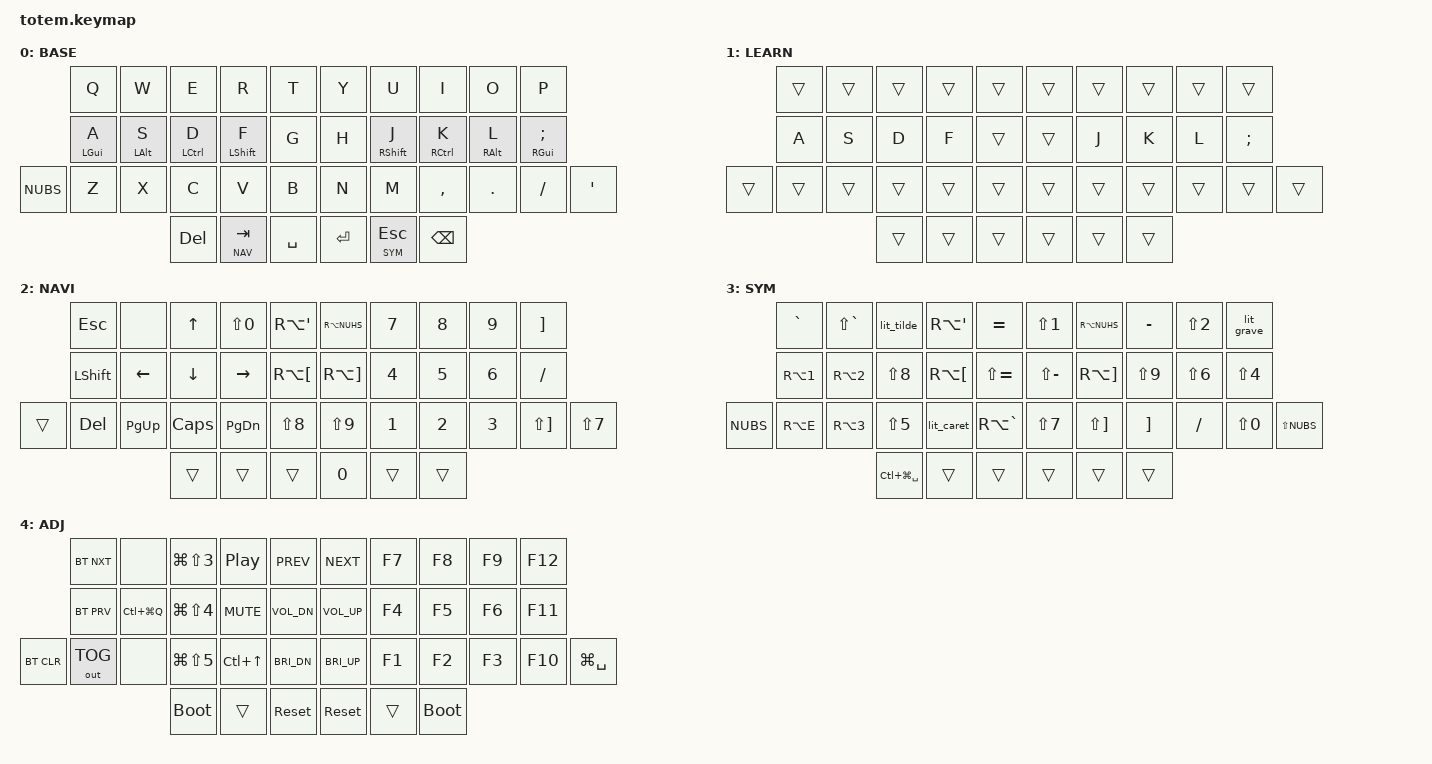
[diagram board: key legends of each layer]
//
//                                                        ▀▀▀▀▀     ▀▀▀▀▀          ▀▀█▀▀
//                                                        ▄▀▀▀▄  ▄  ▄▀▀▀▄  ▄  ▄▀▀▀▄  █  ▄▀▀▀▄
//                                                        █   █  █  █   █  █  █   █  █  █   █
//                                                         ▀▀▀   █   ▀▀▀   █   ▀▀▀   ▀   ▀▀▀
//                                                               █      ▄▄▄█▄▄▄    █   █
//                                                               ▀      █  █  █     █▄█
//                                                             ▀▀▀▀▀    █  █  █      ▀
//                                                                      ▀  ▀  ▀
//
// QWERTY adapted to macOS with the "Spanish – ISO" input source.
// Symbols are sent as the key combination that produces that character in the
// macOS Spanish layout (e.g. "@" = Option+2, "/" = Shift+7).
//
// IMPORTANT: those combinations use RA() (RIGHT Option), not LA(), on purpose.
// kitty has "macos_option_as_alt left" (~/.config/kitty/kitty.conf), which takes
// the left Option and turns it into Meta for the terminal: there LA(N2) would be
// sent as ESC 2 and would not compose "@". The right Option does reach macOS and
// composes normally. Don't swap RA() for LA() without adjusting kitty first.
// The LEFT Alt is kept as a real Meta modifier in &mt LALT S.
// ▄▄▄▄▄▄▄▄▄▄▄▄▄▄▄▄▄▄▄▄▄▄▄▄▄▄▄▄▄▄▄▄▄▄▄▄▄▄▄▄▄▄▄▄▄▄▄▄▄▄▄▄▄▄▄▄▄▄▄▄▄▄▄▄▄▄▄▄▄▄▄▄▄▄▄▄▄▄▄▄▄▄▄▄▄▄▄▄▄▄▄▄▄▄▄▄▄▄▄▄▄▄▄▄▄▄▄▄▄▄▄▄▄▄▄▄▄▄▄▄▄▄▄▄▄▄▄▄▄▄▄▄▄▄▄▄▄▄▄▄▄▄▄▄▄▄▄▄▄


#include <behaviors.dtsi>
#include <dt-bindings/zmk/keys.h>
#include <dt-bindings/zmk/bt.h>
#include <dt-bindings/zmk/outputs.h>

#define BASE  0
#define LEARN 1
#define NAV   2
#define SYM   3
#define ADJ   4

&mt {
  quick-tap-ms = <100>;
  global-quick-tap;
  flavor = "tap-preferred";
  tapping-term-ms = <170>;
};

/ {
     combos {
            compatible = "zmk,combos";
            combo_esc {
                timeout-ms = <50>;
                key-positions = <0 1>;
                bindings = <&kp ESC>;
            };
            combo_learn {
                timeout-ms = <100>;
                key-positions = <11 12 13>;
                bindings = <&tog LEARN>;
            };
            // ç = the key next to ´ on the Spanish ISO layout (NUHS); with ⇧ it gives Ç.
            // Only in BASE/LEARN so it doesn't clash with Caps/PgDn (NAV) or % ^ (SYM).
            combo_cedilla {
                timeout-ms = <50>;
                key-positions = <23 24>;
                bindings = <&kp NUHS>;
                layers = <BASE LEARN>;
            };
    };

    // Tri-layer: holding NAV (TAB) and SYM (ESC) together activates ADJ.
    // That way no layer spends a key on &mo ADJ.
    conditional_layers {
        compatible = "zmk,conditional-layers";
        tri_layer {
            if-layers = <NAV SYM>;
            then-layer = <ADJ>;
        };
    };

    macros {
        // In the macOS Spanish layout ` ^ ~ are dead keys: they wait for a vowel.
        // For programming they're wanted as literals, so each macro taps the dead
        // key and then space, which makes macOS emit the character on its own.
        lit_grave: lit_grave {
            compatible = "zmk,behavior-macro";
            #binding-cells = <0>;
            bindings = <&macro_tap &kp LBKT &kp SPACE>;          // `
        };
        lit_caret: lit_caret {
            compatible = "zmk,behavior-macro";
            #binding-cells = <0>;
            bindings = <&macro_tap &kp LS(LBKT) &kp SPACE>;      // ^
        };
        lit_tilde: lit_tilde {
            compatible = "zmk,behavior-macro";
            #binding-cells = <0>;
            bindings = <&macro_tap &kp RA(SEMI) &kp SPACE>;      // ~ (Option+ñ)
        };
    };

        keymap {
                compatible = "zmk,keymap";
// ▄▄▄▄▄▄▄▄▄▄▄▄▄▄▄▄▄▄▄▄▄▄▄▄▄▄▄▄▄▄▄▄▄▄▄▄▄▄▄▄▄▄▄▄▄▄▄▄▄▄▄▄▄▄▄▄▄▄▄▄▄▄▄▄▄▄▄▄▄▄▄▄▄▄▄▄▄▄▄▄▄▄▄▄▄▄▄▄▄▄▄▄▄▄▄▄▄▄▄▄▄▄▄▄▄▄▄▄▄▄▄▄▄▄▄▄▄▄▄▄▄▄▄▄▄▄▄▄▄▄▄▄▄▄▄▄▄▄▄▄▄▄▄▄▄▄▄▄▄

                base_layer {
// ┏━━━━━━━━━━━━━━━━━━━━━━━━━━━━━━━━━━━━━━━┓
label= "BASE"                              ;
// ┗━━━━━━━━━━━━━━━━━━━━━━━━━━━━━━━━━━━━━━━┛
//             ┏━━━━━━━━━━━┳━━━━━━━━━━━┳━━━━━━━━━━━┳━━━━━━━━━━━┳━━━━━━━━━━━┓   ┏━━━━━━━━━━━┳━━━━━━━━━━━┳━━━━━━━━━━━┳━━━━━━━━━━━┳━━━━━━━━━━━┓
//             ┃     Q     ┃     W     ┃     E     ┃     R     ┃     T     ┃   ┃     Y     ┃     U     ┃     I     ┃     O     ┃     P     ┃
//             ┣━━━━━━━━━━━╋━━━━━━━━━━━╋━━━━━━━━━━━╋━━━━━━━━━━━╋━━━━━━━━━━━┫   ┣━━━━━━━━━━━╋━━━━━━━━━━━╋━━━━━━━━━━━╋━━━━━━━━━━━╋━━━━━━━━━━━┫
//             ┃   A/Cmd   ┃   S/Alt   ┃   D/Ctrl  ┃   F/Shft  ┃     G     ┃   ┃     H     ┃   J/Shft  ┃   K/Ctrl  ┃   L/Alt   ┃   Ñ/Cmd   ┃
// ┏━━━━━━━━━━━╋━━━━━━━━━━━╋━━━━━━━━━━━╋━━━━━━━━━━━╋━━━━━━━━━━━╋━━━━━━━━━━━┫   ┣━━━━━━━━━━━╋━━━━━━━━━━━╋━━━━━━━━━━━╋━━━━━━━━━━━╋━━━━━━━━━━━╋━━━━━━━━━━━┓
// ┃    < >    ┃     Z     ┃     X     ┃     C     ┃     V     ┃     B     ┃   ┃     N     ┃     M     ┃    , ;    ┃    . :    ┃    - _    ┃    ´ ¨    ┃
// ┗━━━━━━━━━━━┻━━━━━━━━━━━┻━━━━━━━━━━━╋━━━━━━━━━━━╋━━━━━━━━━━━╋━━━━━━━━━━━┫   ┣━━━━━━━━━━━╋━━━━━━━━━━━╋━━━━━━━━━━━╋━━━━━━━━━━━┻━━━━━━━━━━━┻━━━━━━━━━━━┛
//                                     ┃    DEL    ┃    TAB    ┃    SPC    ┃   ┃   ENTER   ┃    ESC    ┃   BSPC    ┃
//                                     ┗━━━━━━━━━━━┻━━━━━━━━━━━┻━━━━━━━━━━━┛   ┗━━━━━━━━━━━┻━━━━━━━━━━━┻━━━━━━━━━━━┛
 bindings = <
// ╷           ╷           ╷           ╷           ╷           ╷           ╷   ╷           ╷           ╷           ╷           ╷           ╷           ╷

                &kp Q       &kp W       &kp E       &kp R       &kp T           &kp Y       &kp U       &kp I       &kp O       &kp P
                &mt LGUI A  &mt LALT S  &mt LCTRL D &mt LSHFT F &kp G           &kp H       &mt RSHFT J &mt RCTRL K &mt RALT L  &mt RGUI SEMI
    &kp NUBS    &kp Z       &kp X       &kp C       &kp V       &kp B           &kp N       &kp M       &kp COMMA   &kp DOT     &kp FSLH    &kp SQT
                                        &kp DEL   &lt NAV TAB   &kp SPACE       &kp RET   &lt SYM ESC   &kp BSPC
                        >;
                };

// ▄▄▄▄▄▄▄▄▄▄▄▄▄▄▄▄▄▄▄▄▄▄▄▄▄▄▄▄▄▄▄▄▄▄▄▄▄▄▄▄▄▄▄▄▄▄▄▄▄▄▄▄▄▄▄▄▄▄▄▄▄▄▄▄▄▄▄▄▄▄▄▄▄▄▄▄▄▄▄▄▄▄▄▄▄▄▄▄▄▄▄▄▄▄▄▄▄▄▄▄▄▄▄▄▄▄▄▄▄▄▄▄▄▄▄▄▄▄▄▄▄▄▄▄▄▄▄▄▄▄▄▄▄▄▄▄▄▄▄▄▄▄▄▄▄▄▄▄▄


                learn_layer {
// ┏━━━━━━━━━━━━━━━━━━━━━━━━━━━━━━━━━━━━━━━┓
label= "LEARN"                             ;
// ┗━━━━━━━━━━━━━━━━━━━━━━━━━━━━━━━━━━━━━━━┛
// "Patch" layer for touch-typing practice: toggled with the S+D+F combo, it
// replaces the home-row mods with plain letters. Everything else is
// transparent, so NAV/SYM and the symbols keep working.
 bindings = <
// ╷           ╷           ╷           ╷           ╷           ╷           ╷   ╷           ╷           ╷           ╷           ╷           ╷           ╷

                &trans      &trans      &trans      &trans      &trans          &trans      &trans      &trans      &trans      &trans
                &kp A       &kp S       &kp D       &kp F       &trans          &trans      &kp J       &kp K       &kp L       &kp SEMI
    &trans      &trans      &trans      &trans      &trans      &trans          &trans      &trans      &trans      &trans      &trans      &trans
                                        &trans      &trans      &trans          &trans      &trans      &trans
                        >;
                };

// ▄▄▄▄▄▄▄▄▄▄▄▄▄▄▄▄▄▄▄▄▄▄▄▄▄▄▄▄▄▄▄▄▄▄▄▄▄▄▄▄▄▄▄▄▄▄▄▄▄▄▄▄▄▄▄▄▄▄▄▄▄▄▄▄▄▄▄▄▄▄▄▄▄▄▄▄▄▄▄▄▄▄▄▄▄▄▄▄▄▄▄▄▄▄▄▄▄▄▄▄▄▄▄▄▄▄▄▄▄▄▄▄▄▄▄▄▄▄▄▄▄▄▄▄▄▄▄▄▄▄▄▄▄▄▄▄▄▄▄▄▄▄▄▄▄▄▄▄▄


                nav_layer {
// ┏━━━━━━━━━━━━━━━━━━━━━━━━━━━━━━━━━━━━━━━┓
label= "NAVI"                              ;
// ┗━━━━━━━━━━━━━━━━━━━━━━━━━━━━━━━━━━━━━━━┛
//             ┏━━━━━━━━━━━┳━━━━━━━━━━━┳━━━━━━━━━━━┳━━━━━━━━━━━┳━━━━━━━━━━━┓   ┏━━━━━━━━━━━┳━━━━━━━━━━━┳━━━━━━━━━━━┳━━━━━━━━━━━┳━━━━━━━━━━━┓
//             ┃    ESC    ┃           ┃     UP    ┃     =     ┃     {     ┃   ┃     }     ┃     7     ┃     8     ┃     9     ┃     +     ┃
//             ┣━━━━━━━━━━━╋━━━━━━━━━━━╋━━━━━━━━━━━╋━━━━━━━━━━━╋━━━━━━━━━━━┫   ┣━━━━━━━━━━━╋━━━━━━━━━━━╋━━━━━━━━━━━╋━━━━━━━━━━━╋━━━━━━━━━━━┫
//             ┃   SHIFT   ┃   LEFT    ┃    DOWN   ┃   RIGHT   ┃     [     ┃   ┃     ]     ┃     4     ┃     5     ┃     6     ┃     -     ┃
// ┏━━━━━━━━━━━╋━━━━━━━━━━━╋━━━━━━━━━━━╋━━━━━━━━━━━╋━━━━━━━━━━━╋━━━━━━━━━━━┫   ┣━━━━━━━━━━━╋━━━━━━━━━━━╋━━━━━━━━━━━╋━━━━━━━━━━━╋━━━━━━━━━━━╋━━━━━━━━━━━┓
// ┃           ┃    DEL    ┃   P UP    ┃  C LOCK   ┃  P DOWN   ┃     (     ┃   ┃     )     ┃     1     ┃     2     ┃     3     ┃     *     ┃     /     ┃
// ┗━━━━━━━━━━━┻━━━━━━━━━━━┻━━━━━━━━━━━╋━━━━━━━━━━━╋━━━━━━━━━━━╋━━━━━━━━━━━┫   ┣━━━━━━━━━━━╋━━━━━━━━━━━╋━━━━━━━━━━━╋━━━━━━━━━━━┻━━━━━━━━━━━┻━━━━━━━━━━━┛
//                                     ┃           ┃   (hold)  ┃           ┃   ┃     0     ┃           ┃           ┃
//                                     ┗━━━━━━━━━━━┻━━━━━━━━━━━┻━━━━━━━━━━━┛   ┗━━━━━━━━━━━┻━━━━━━━━━━━┻━━━━━━━━━━━┛
 // The ESC position must stay &trans: that way TAB→ESC activates SYM and, with it, ADJ (tri-layer).
 bindings = <
// ╷           ╷           ╷           ╷           ╷           ╷           ╷   ╷           ╷           ╷           ╷           ╷           ╷           ╷

                &kp ESC     &none       &kp UP      &kp LS(N0)  &kp RA(SQT)     &kp RA(NUHS) &kp N7     &kp N8      &kp N9      &kp RBKT
                &kp LSHFT   &kp LEFT    &kp DOWN    &kp RIGHT   &kp RA(LBKT)    &kp RA(RBKT) &kp N4     &kp N5      &kp N6      &kp FSLH
    &trans      &kp DEL     &kp PG_UP   &kp CAPS    &kp PG_DN   &kp LS(N8)      &kp LS(N9)  &kp N1      &kp N2      &kp N3      &kp LS(RBKT) &kp LS(N7)
                                        &trans      &trans      &trans          &kp N0      &trans      &trans
                        >;
                };

// ▄▄▄▄▄▄▄▄▄▄▄▄▄▄▄▄▄▄▄▄▄▄▄▄▄▄▄▄▄▄▄▄▄▄▄▄▄▄▄▄▄▄▄▄▄▄▄▄▄▄▄▄▄▄▄▄▄▄▄▄▄▄▄▄▄▄▄▄▄▄▄▄▄▄▄▄▄▄▄▄▄▄▄▄▄▄▄▄▄▄▄▄▄▄▄▄▄▄▄▄▄▄▄▄▄▄▄▄▄▄▄▄▄▄▄▄▄▄▄▄▄▄▄▄▄▄▄▄▄▄▄▄▄▄▄▄▄▄▄▄▄▄▄▄▄▄▄▄▄


                sim_layer {
// ┏━━━━━━━━━━━━━━━━━━━━━━━━━━━━━━━━━━━━━━━┓
label= "SYM"                               ;
// ┗━━━━━━━━━━━━━━━━━━━━━━━━━━━━━━━━━━━━━━━┛
//             ┏━━━━━━━━━━━┳━━━━━━━━━━━┳━━━━━━━━━━━┳━━━━━━━━━━━┳━━━━━━━━━━━┓   ┏━━━━━━━━━━━┳━━━━━━━━━━━┳━━━━━━━━━━━┳━━━━━━━━━━━┳━━━━━━━━━━━┓
//             ┃     º     ┃     ª     ┃     ~     ┃     {     ┃     ¡     ┃   ┃     !     ┃     }     ┃     '     ┃     "     ┃     `     ┃
//             ┣━━━━━━━━━━━╋━━━━━━━━━━━╋━━━━━━━━━━━╋━━━━━━━━━━━╋━━━━━━━━━━━┫   ┣━━━━━━━━━━━╋━━━━━━━━━━━╋━━━━━━━━━━━╋━━━━━━━━━━━╋━━━━━━━━━━━┫
//             ┃     |     ┃     @     ┃     (     ┃     [     ┃     ¿     ┃   ┃     ?     ┃     ]     ┃     )     ┃     &     ┃     $     ┃
// ┏━━━━━━━━━━━╋━━━━━━━━━━━╋━━━━━━━━━━━╋━━━━━━━━━━━╋━━━━━━━━━━━╋━━━━━━━━━━━┫   ┣━━━━━━━━━━━╋━━━━━━━━━━━╋━━━━━━━━━━━╋━━━━━━━━━━━╋━━━━━━━━━━━╋━━━━━━━━━━━┓
// ┃     <     ┃     €     ┃     #     ┃     %     ┃     ^     ┃     \     ┃   ┃     /     ┃     *     ┃     +     ┃     -     ┃     =     ┃     >     ┃
// ┗━━━━━━━━━━━┻━━━━━━━━━━━┻━━━━━━━━━━━╋━━━━━━━━━━━╋━━━━━━━━━━━╋━━━━━━━━━━━┫   ┣━━━━━━━━━━━╋━━━━━━━━━━━╋━━━━━━━━━━━╋━━━━━━━━━━━┻━━━━━━━━━━━┻━━━━━━━━━━━┛
//                                     ┃   EMOJI   ┃           ┃           ┃   ┃           ┃   (hold)  ┃           ┃
//                                     ┗━━━━━━━━━━━┻━━━━━━━━━━━┻━━━━━━━━━━━┛   ┗━━━━━━━━━━━┻━━━━━━━━━━━┻━━━━━━━━━━━┛
 bindings = <
// ╷           ╷           ╷           ╷           ╷           ╷           ╷   ╷           ╷           ╷           ╷           ╷           ╷           ╷

                &kp GRAVE   &kp LS(GRAVE) &lit_tilde &kp RA(SQT) &kp EQUAL      &kp LS(N1)  &kp RA(NUHS) &kp MINUS  &kp LS(N2)  &lit_grave
                &kp RA(N1)  &kp RA(N2)  &kp LS(N8)  &kp RA(LBKT) &kp LS(EQUAL)  &kp LS(MINUS) &kp RA(RBKT) &kp LS(N9) &kp LS(N6) &kp LS(N4)
    &kp NUBS    &kp RA(E)   &kp RA(N3)  &kp LS(N5)  &lit_caret  &kp RA(GRAVE) &kp LS(N7) &kp LS(RBKT) &kp RBKT   &kp FSLH   &kp LS(N0)  &kp LS(NUBS)
                                        &kp LC(LG(SPACE)) &trans &trans         &trans      &trans      &trans
                        >;
                };

// ▄▄▄▄▄▄▄▄▄▄▄▄▄▄▄▄▄▄▄▄▄▄▄▄▄▄▄▄▄▄▄▄▄▄▄▄▄▄▄▄▄▄▄▄▄▄▄▄▄▄▄▄▄▄▄▄▄▄▄▄▄▄▄▄▄▄▄▄▄▄▄▄▄▄▄▄▄▄▄▄▄▄▄▄▄▄▄▄▄▄▄▄▄▄▄▄▄▄▄▄▄▄▄▄▄▄▄▄▄▄▄▄▄▄▄▄▄▄▄▄▄▄▄▄▄▄▄▄▄▄▄▄▄▄▄▄▄▄▄▄▄▄▄▄▄▄▄▄▄


                adjust_layer {
// ┏━━━━━━━━━━━━━━━━━━━━━━━━━━━━━━━━━━━━━━━┓
label= "ADJ"                               ;
// ┗━━━━━━━━━━━━━━━━━━━━━━━━━━━━━━━━━━━━━━━┛
// Activates by itself while holding TAB (NAV) + ESC (SYM): see conditional_layers.
//             ┏━━━━━━━━━━━┳━━━━━━━━━━━┳━━━━━━━━━━━┳━━━━━━━━━━━┳━━━━━━━━━━━┓   ┏━━━━━━━━━━━┳━━━━━━━━━━━┳━━━━━━━━━━━┳━━━━━━━━━━━┳━━━━━━━━━━━┓
//             ┃ BT NEXT   ┃           ┃ FULL SHOT ┃ PLAY/PAUSE┃   PREV    ┃   ┃   NEXT    ┃    F7     ┃    F8     ┃    F9     ┃    F12    ┃
//             ┣━━━━━━━━━━━╋━━━━━━━━━━━╋━━━━━━━━━━━╋━━━━━━━━━━━╋━━━━━━━━━━━┫   ┣━━━━━━━━━━━╋━━━━━━━━━━━╋━━━━━━━━━━━╋━━━━━━━━━━━╋━━━━━━━━━━━┫
//             ┃ BT PREV   ┃   LOCK    ┃ AREA SHOT ┃   MUTE    ┃   VOL-    ┃   ┃   VOL+    ┃    F4     ┃    F5     ┃    F6     ┃    F11    ┃
// ┏━━━━━━━━━━━╋━━━━━━━━━━━╋━━━━━━━━━━━╋━━━━━━━━━━━╋━━━━━━━━━━━╋━━━━━━━━━━━┫   ┣━━━━━━━━━━━╋━━━━━━━━━━━╋━━━━━━━━━━━╋━━━━━━━━━━━╋━━━━━━━━━━━╋━━━━━━━━━━━┓
// ┃ BT CLEAR  ┃  OUT TOG  ┃           ┃ SHOT/REC  ┃ MISSION C ┃   BRI-    ┃   ┃   BRI+    ┃    F1     ┃    F2     ┃    F3     ┃    F10    ┃ SPOTLIGHT ┃
// ┗━━━━━━━━━━━┻━━━━━━━━━━━┻━━━━━━━━━━━╋━━━━━━━━━━━╋━━━━━━━━━━━╋━━━━━━━━━━━┫   ┣━━━━━━━━━━━╋━━━━━━━━━━━╋━━━━━━━━━━━╋━━━━━━━━━━━┻━━━━━━━━━━━┻━━━━━━━━━━━┛
//                                     ┃ BOOTLOAD  ┃ NAV(hold) ┃   RESET   ┃   ┃   RESET   ┃ SYM(hold) ┃ BOOTLOAD  ┃
//                                     ┗━━━━━━━━━━━┻━━━━━━━━━━━┻━━━━━━━━━━━┛   ┗━━━━━━━━━━━┻━━━━━━━━━━━┻━━━━━━━━━━━┛
 bindings = <
// ╷           ╷           ╷           ╷           ╷           ╷           ╷   ╷           ╷           ╷           ╷           ╷           ╷           ╷

                &bt BT_NXT  &none       &kp LG(LS(N3)) &kp C_PP    &kp C_PREV      &kp C_NEXT  &kp F7      &kp F8      &kp F9      &kp F12
                &bt BT_PRV  &kp LC(LG(Q)) &kp LG(LS(N4)) &kp C_MUTE  &kp C_VOL_DN    &kp C_VOL_UP &kp F4     &kp F5      &kp F6      &kp F11
    &bt BT_CLR  &out OUT_TOG &none      &kp LG(LS(N5)) &kp LC(UP)  &kp C_BRI_DN    &kp C_BRI_UP &kp F1     &kp F2      &kp F3      &kp F10     &kp LG(SPACE)
                                        &bootloader &trans      &sys_reset      &sys_reset  &trans      &bootloader
                        >;
                };
        };
};
